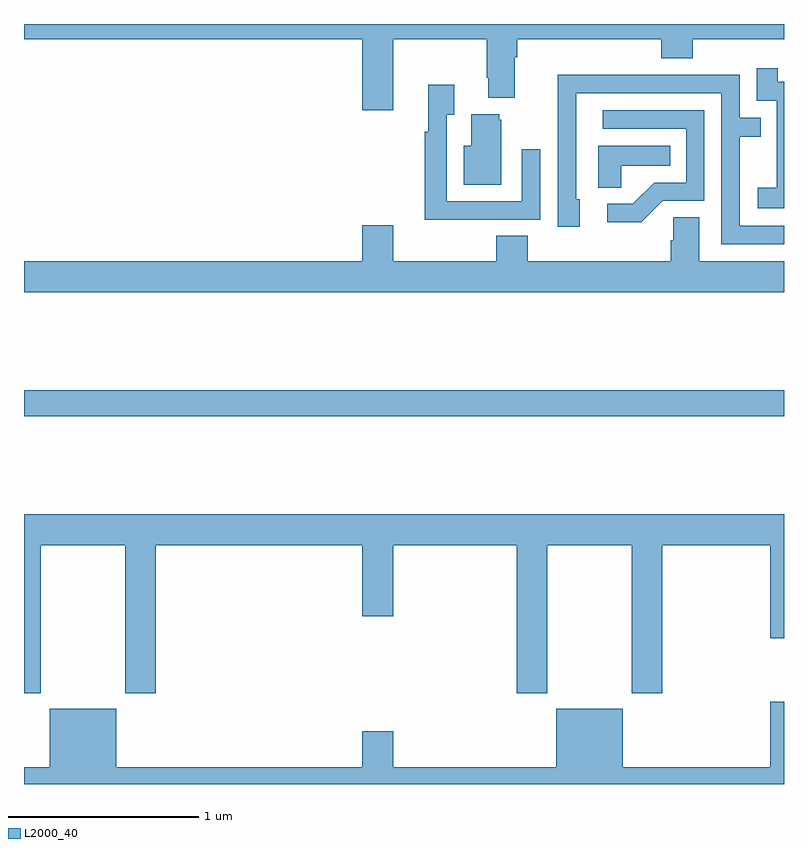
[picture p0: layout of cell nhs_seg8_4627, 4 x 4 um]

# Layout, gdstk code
import gdstk
lib = gdstk.Library(unit=1e-6, precision=1e-09)
def R(c, l, rs):  # rectangles x0, y0, x1, y1
    for r in rs: c.add(gdstk.rectangle(r[:2], r[2:], *l))
def P(c, l, *ps):  # polygons
    for p in ps: c.add(gdstk.Polygon(p, *l))
L2000_40 = (2000, 40)

nhs_seg8_4627 = lib.new_cell('nhs_seg8_4627')
R(nhs_seg8_4627, L2000_40, [(391,1127.836,395,1127.972)])
P(nhs_seg8_4627, L2000_40, [(392.944,1129.82),(393.436,1129.82),(393.436,1129.618),(393.443,1129.618),(393.443,1129.511),(393.583,1129.511),(393.583,1129.724),(393.596,1129.724),(393.596,1129.82),(394.355,1129.82),(394.355,1129.721),(394.52,1129.721),(394.52,1129.82),(395,1129.82),(395,1129.9),(391,1129.9),(391,1129.82),(392.78,1129.82),(392.78,1129.446),(392.944,1129.446)],
  [(395,1129.596),(394.966,1129.596),(394.966,1129.666),(394.857,1129.666),(394.857,1129.497),(394.962,1129.497),(394.962,1129.268),(394.961,1129.268),(394.961,1129.039),(394.863,1129.039),(394.863,1128.929),(395,1128.929)],
  [(395,1128.837),(394.767,1128.837),(394.767,1129.306),(394.877,1129.306),(394.877,1129.407),(394.767,1129.407),(394.767,1129.632),(394.271,1129.632),(394.271,1129.634),(393.808,1129.634),(393.808,1129.327),(393.81,1129.327),(393.81,1128.834),(393.925,1128.834),(393.925,1128.978),(393.906,1128.978),(393.906,1129.536),(394.671,1129.536),(394.671,1128.741),(395,1128.741)],
  [(393.401,1128.87),(393.717,1128.87),(393.717,1129.24),(393.621,1129.24),(393.621,1128.966),(393.225,1128.966),(393.225,1129.423),(393.265,1129.423),(393.265,1129.579),(393.128,1129.579),(393.128,1129.334),(393.109,1129.334),(393.109,1128.869),(393.401,1128.869)],
  [(394.362,1128.969),(394.581,1128.969),(394.581,1129.446),(394.047,1129.446),(394.047,1129.35),(394.485,1129.35),(394.485,1129.065),(394.316,1129.065),(394.205,1128.954),(394.071,1128.954),(394.071,1128.857),(394.249,1128.857)],
  [(393.511,1129.395),(393.5,1129.395),(393.5,1129.426),(393.353,1129.426),(393.353,1129.258),(393.314,1129.258),(393.314,1129.055),(393.511,1129.055)],
  [(394.143,1129.154),(394.4,1129.154),(394.4,1129.258),(394.022,1129.258),(394.022,1129.039),(394.143,1129.039)],
  [(395,1128.652),(394.555,1128.652),(394.555,1128.884),(394.416,1128.884),(394.416,1128.761),(394.403,1128.761),(394.403,1128.652),(393.65,1128.652),(393.65,1128.785),(393.485,1128.785),(393.485,1128.652),(392.944,1128.652),(392.944,1128.841),(392.78,1128.841),(392.78,1128.652),(391,1128.652),(391,1128.488),(395,1128.488)],
  [(391.089,1127.156),(391.534,1127.156),(391.534,1126.377),(391.694,1126.377),(391.694,1127.156),(392.78,1127.156),(392.78,1126.782),(392.944,1126.782),(392.944,1127.156),(393.593,1127.156),(393.593,1126.377),(393.753,1126.377),(393.753,1127.156),(394.198,1127.156),(394.198,1126.377),(394.358,1126.377),(394.358,1127.156),(394.927,1127.156),(394.927,1126.668),(395,1126.668),(395,1127.32),(391,1127.32),(391,1126.377),(391.089,1126.377)],
  [(395,1126.333),(394.927,1126.333),(394.927,1125.988),(394.15,1125.988),(394.15,1126.297),(393.8,1126.297),(393.8,1125.988),(392.944,1125.988),(392.944,1126.177),(392.78,1126.177),(392.78,1125.988),(391.486,1125.988),(391.486,1126.297),(391.136,1126.297),(391.136,1125.988),(391,1125.988),(391,1125.9),(395,1125.9)])

lib.write_gds('nhs_seg8_4627.gds')
